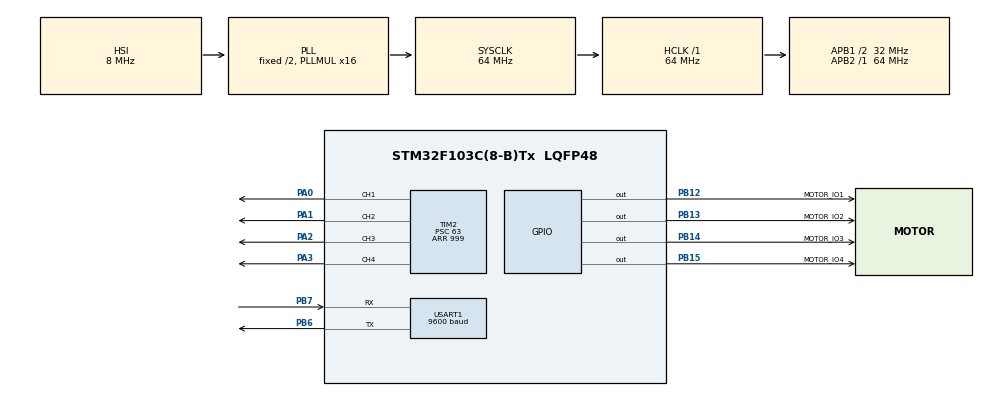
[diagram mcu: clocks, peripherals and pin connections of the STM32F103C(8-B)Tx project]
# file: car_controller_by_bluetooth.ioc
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Mcu.Family=STM32F1
Mcu.Name=STM32F103C(8-B)Tx
Mcu.Package=LQFP48
NVIC.PriorityGroup=NVIC_PRIORITYGROUP_4
NVIC.USART1_IRQn=true\:1\:0\:true\:false\:true\:true\:true\:true
PA0-WKUP.Signal=S_TIM2_CH1_ETR
PA1.Signal=S_TIM2_CH2
PA13.Mode=Serial_Wire
PA13.Signal=SYS_JTMS-SWDIO
PA14.Mode=Serial_Wire
PA14.Signal=SYS_JTCK-SWCLK
PA2.Signal=S_TIM2_CH3
PA3.Signal=S_TIM2_CH4
PB12.GPIO_Label=MOTOR_IO1
PB12.Signal=GPIO_Output
PB13.GPIO_Label=MOTOR_IO2
PB13.Signal=GPIO_Output
PB14.GPIO_Label=MOTOR_IO3
PB14.Signal=GPIO_Output
PB15.GPIO_Label=MOTOR_IO4
PB15.Signal=GPIO_Output
PB6.Mode=Asynchronous
PB6.Signal=USART1_TX
PB7.Mode=Asynchronous
PB7.Signal=USART1_RX
ProjectManager.HeapSize=0x200
ProjectManager.StackSize=0x400
ProjectManager.TargetToolchain=MDK-ARM V5.32
RCC.AHBFreq_Value=64000000
RCC.APB1CLKDivider=RCC_HCLK_DIV2
RCC.APB1Freq_Value=32000000
RCC.APB1TimFreq_Value=64000000
RCC.APB2Freq_Value=64000000
RCC.APB2TimFreq_Value=64000000
RCC.HCLKFreq_Value=64000000
RCC.PLLMUL=RCC_PLL_MUL16
RCC.SYSCLKFreq_VALUE=64000000
RCC.SYSCLKSource=RCC_SYSCLKSOURCE_PLLCLK
RCC.USBFreq_Value=64000000
SH.S_TIM2_CH1_ETR.0=TIM2_CH1,PWM Generation1 CH1
SH.S_TIM2_CH2.0=TIM2_CH2,PWM Generation2 CH2
SH.S_TIM2_CH3.0=TIM2_CH3,PWM Generation3 CH3
SH.S_TIM2_CH4.0=TIM2_CH4,PWM Generation4 CH4
TIM2.Channel-PWM\ Generation1\ CH1=TIM_CHANNEL_1
TIM2.Channel-PWM\ Generation2\ CH2=TIM_CHANNEL_2
TIM2.Channel-PWM\ Generation3\ CH3=TIM_CHANNEL_3
TIM2.Channel-PWM\ Generation4\ CH4=TIM_CHANNEL_4
TIM2.Period=999
TIM2.Prescaler=63
USART1.BaudRate=9600
USART1.VirtualMode=VM_ASYNC
VP_TIM2_VS_ClockSourceINT.Mode=Internal
board=custom

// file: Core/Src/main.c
/* USER CODE BEGIN Header */
/**
  ******************************************************************************
  * @file           : main.c
  * @brief          : Main program body
  ******************************************************************************
  * @attention
  *
  * Copyright (c) 2024 STMicroelectronics.
  * All rights reserved.
  *
  * This software is licensed under terms that can be found in the LICENSE file
  * in the root directory of this software component.
  * If no LICENSE file comes with this software, it is provided AS-IS.
  *
  ******************************************************************************
  */
/* USER CODE END Header */
#include "main.h"

/* USER CODE BEGIN Includes */
#include "car.h"
/* USER CODE END Includes */

TIM_HandleTypeDef htim2;

UART_HandleTypeDef huart1;

void SystemClock_Config(void);
static void MX_GPIO_Init(void);
static void MX_USART1_UART_Init(void);
static void MX_TIM2_Init(void);

/* USER CODE BEGIN 0 */
uint8_t data_rx;
uint8_t uart_flag=0;
uint8_t car_speed=100;
uint16_t time=0;
void HAL_UART_RxCpltCallback(UART_HandleTypeDef *huart){
	if(huart->Instance==huart1.Instance){
		uart_flag=1;
	}
	HAL_UART_Receive_IT(&huart1,&data_rx,1);
}
/* USER CODE END 0 */

int main(void)
{

  /* MCU Configuration--------------------------------------------------------*/

  /* Reset of all peripherals, Initializes the Flash interface and the Systick. */
  HAL_Init();

  /* Configure the system clock */
  SystemClock_Config();

  /* Initialize all configured peripherals */
  MX_GPIO_Init();
  MX_USART1_UART_Init();
  MX_TIM2_Init();
  /* USER CODE BEGIN 2 */
	car_init(&htim2);
	HAL_UART_Receive_IT(&huart1,&data_rx,1);
  /* USER CODE END 2 */

  /* Infinite loop */
  while (1)
  {

    /* USER CODE BEGIN 3 */
		if(uart_flag){
			switch(data_rx){
				time=HAL_GetTick();
				case 'f':
					car_control(CAR_FORWARD_STATE,car_speed);
					break;
				case 'b':
					car_control(CAR_BACKWARD_STATE,car_speed);
					break;
				case 'l':
					car_control(CAR_LEFT_STATE,car_speed);
					break;
				case 'r':
					car_control(CAR_RIGHT_STATE,car_speed);
					break;
				case 'g':
					if(car_speed<=90 && HAL_GetTick()-time>=300){
						car_speed+=10;
						time=HAL_GetTick();
					}
					break;
				case 'h':
					if(car_speed>=10 && HAL_GetTick()-time>=300){
						car_speed-=10;
						time=HAL_GetTick();
					}
					break;
				default:
					car_control(CAR_STOP_STATE,0);
					break;
			}
		}
		uart_flag=0;
  }
  /* USER CODE END 3 */
}

void SystemClock_Config(void)
{
  RCC_OscInitTypeDef RCC_OscInitStruct = {0};
  RCC_ClkInitTypeDef RCC_ClkInitStruct = {0};

  /** Initializes the RCC Oscillators according to the specified parameters
  * in the RCC_OscInitTypeDef structure.
  */
  RCC_OscInitStruct.OscillatorType = RCC_OSCILLATORTYPE_HSI;
  RCC_OscInitStruct.HSIState = RCC_HSI_ON;
  RCC_OscInitStruct.HSICalibrationValue = RCC_HSICALIBRATION_DEFAULT;
  RCC_OscInitStruct.PLL.PLLState = RCC_PLL_ON;
  RCC_OscInitStruct.PLL.PLLSource = RCC_PLLSOURCE_HSI_DIV2;
  RCC_OscInitStruct.PLL.PLLMUL = RCC_PLL_MUL16;
  if (HAL_RCC_OscConfig(&RCC_OscInitStruct) != HAL_OK)
  {
    Error_Handler();
  }

  /** Initializes the CPU, AHB and APB buses clocks
  */
  RCC_ClkInitStruct.ClockType = RCC_CLOCKTYPE_HCLK|RCC_CLOCKTYPE_SYSCLK
                              |RCC_CLOCKTYPE_PCLK1|RCC_CLOCKTYPE_PCLK2;
  RCC_ClkInitStruct.SYSCLKSource = RCC_SYSCLKSOURCE_PLLCLK;
  RCC_ClkInitStruct.AHBCLKDivider = RCC_SYSCLK_DIV1;
  RCC_ClkInitStruct.APB1CLKDivider = RCC_HCLK_DIV2;
  RCC_ClkInitStruct.APB2CLKDivider = RCC_HCLK_DIV1;

  if (HAL_RCC_ClockConfig(&RCC_ClkInitStruct, FLASH_LATENCY_2) != HAL_OK)
  {
    Error_Handler();
  }
}

static void MX_TIM2_Init(void)
{

  TIM_ClockConfigTypeDef sClockSourceConfig = {0};
  TIM_MasterConfigTypeDef sMasterConfig = {0};
  TIM_OC_InitTypeDef sConfigOC = {0};

  htim2.Instance = TIM2;
  htim2.Init.Prescaler = 63;
  htim2.Init.CounterMode = TIM_COUNTERMODE_UP;
  htim2.Init.Period = 999;
  htim2.Init.ClockDivision = TIM_CLOCKDIVISION_DIV1;
  htim2.Init.AutoReloadPreload = TIM_AUTORELOAD_PRELOAD_DISABLE;
  if (HAL_TIM_Base_Init(&htim2) != HAL_OK)
  {
    Error_Handler();
  }
  sClockSourceConfig.ClockSource = TIM_CLOCKSOURCE_INTERNAL;
  if (HAL_TIM_ConfigClockSource(&htim2, &sClockSourceConfig) != HAL_OK)
  {
    Error_Handler();
  }
  if (HAL_TIM_PWM_Init(&htim2) != HAL_OK)
  {
    Error_Handler();
  }
  sMasterConfig.MasterOutputTrigger = TIM_TRGO_RESET;
  sMasterConfig.MasterSlaveMode = TIM_MASTERSLAVEMODE_DISABLE;
  if (HAL_TIMEx_MasterConfigSynchronization(&htim2, &sMasterConfig) != HAL_OK)
  {
    Error_Handler();
  }
  sConfigOC.OCMode = TIM_OCMODE_PWM1;
  sConfigOC.Pulse = 0;
  sConfigOC.OCPolarity = TIM_OCPOLARITY_HIGH;
  sConfigOC.OCFastMode = TIM_OCFAST_DISABLE;
  if (HAL_TIM_PWM_ConfigChannel(&htim2, &sConfigOC, TIM_CHANNEL_1) != HAL_OK)
  {
    Error_Handler();
  }
  if (HAL_TIM_PWM_ConfigChannel(&htim2, &sConfigOC, TIM_CHANNEL_2) != HAL_OK)
  {
    Error_Handler();
  }
  if (HAL_TIM_PWM_ConfigChannel(&htim2, &sConfigOC, TIM_CHANNEL_3) != HAL_OK)
  {
    Error_Handler();
  }
  if (HAL_TIM_PWM_ConfigChannel(&htim2, &sConfigOC, TIM_CHANNEL_4) != HAL_OK)
  {
    Error_Handler();
  }
  HAL_TIM_MspPostInit(&htim2);

}

static void MX_USART1_UART_Init(void)
{

  huart1.Instance = USART1;
  huart1.Init.BaudRate = 9600;
  huart1.Init.WordLength = UART_WORDLENGTH_8B;
  huart1.Init.StopBits = UART_STOPBITS_1;
  huart1.Init.Parity = UART_PARITY_NONE;
  huart1.Init.Mode = UART_MODE_TX_RX;
  huart1.Init.HwFlowCtl = UART_HWCONTROL_NONE;
  huart1.Init.OverSampling = UART_OVERSAMPLING_16;
  if (HAL_UART_Init(&huart1) != HAL_OK)
  {
    Error_Handler();
  }

}

static void MX_GPIO_Init(void)
{
  GPIO_InitTypeDef GPIO_InitStruct = {0};

  /* GPIO Ports Clock Enable */
  __HAL_RCC_GPIOA_CLK_ENABLE();
  __HAL_RCC_GPIOB_CLK_ENABLE();

  /*Configure GPIO pin Output Level */
  HAL_GPIO_WritePin(GPIOB, MOTOR_IO1_Pin|MOTOR_IO2_Pin|MOTOR_IO3_Pin|MOTOR_IO4_Pin, GPIO_PIN_RESET);

  /*Configure GPIO pins : MOTOR_IO1_Pin MOTOR_IO2_Pin MOTOR_IO3_Pin MOTOR_IO4_Pin */
  GPIO_InitStruct.Pin = MOTOR_IO1_Pin|MOTOR_IO2_Pin|MOTOR_IO3_Pin|MOTOR_IO4_Pin;
  GPIO_InitStruct.Mode = GPIO_MODE_OUTPUT_PP;
  GPIO_InitStruct.Pull = GPIO_NOPULL;
  GPIO_InitStruct.Speed = GPIO_SPEED_FREQ_LOW;
  HAL_GPIO_Init(GPIOB, &GPIO_InitStruct);

}

void Error_Handler(void)
{
  __disable_irq();
  while (1)
  {
  }
}
